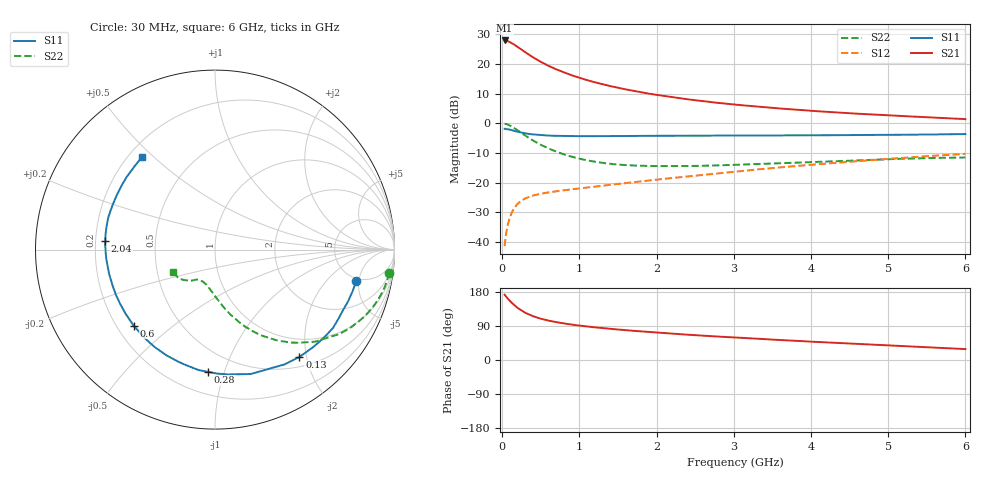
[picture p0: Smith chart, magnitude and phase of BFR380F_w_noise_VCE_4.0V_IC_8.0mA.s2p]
! Infineon Technologies  Discrete & RF Semiconductors
! BFR380F
! VCE =  4.0 V,  IC =  8.0 mA
! Common Emitter S-Parameters:  Nov 2015
# GHz  S  MA  R  50
!  f  S11  S21  S12  S22
! GHz  MAG  ANG  MAG  ANG  MAG  ANG  MAG  ANG
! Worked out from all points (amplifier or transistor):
!   206 points, 30 MHz to 6 GHz, reference 50 ohm
!   highest |S21| = 27.9 dB at 30 MHz (marker M1)
!   |S21| within 3 dB of that: start of sweep to 244.1 MHz
!   unconditionally stable (mu >= 1): 1.956 GHz to 5.037 GHz
!   at 200 MHz: K = 0.19, MSG = 26.4 dB, |S12| = -27.1 dB
!   at 1.56 GHz: K = 0.93, MSG = 15.9 dB, |S12| = -20.3 dB
!   at 6 GHz: K = 0.97, MSG = 5.9 dB, |S12| = -10.3 dB
!   lowest NFmin = 0.82 dB at 450 MHz
!   S11 on the Smith chart (normalised r, x): 30 MHz: 4.55, -4.60; 130 MHz: 0.66, -1.87; 280 MHz: 0.35, -0.88; 600 MHz: 0.27, -0.37; 2.04 GHz: 0.24, +0.04; 6 GHz: 0.25, +0.46
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0.03  0.8061 -12.7  24.74 172.2  0.0085 83.7  0.9803 -7.7
0.05  0.7957 -21.2  24.62 166.8  0.014 80.4  0.9678 -12.6
0.07  0.7883 -29.4  24.11 162.2  0.0192 76.5  0.9486 -17.4
0.1  0.7762 -41.1  23.15 155.7  0.0263 70.8  0.9109 -24.3
0.13  0.7606 -51.8  21.98 149.6  0.0327 66.0  0.8671 -30.5
0.15  0.7479 -58.8  21.25 145.7  0.0364 63.1  0.8362 -34.3
0.2  0.7213 -74.0  19.2 137.1  0.0441 56.9  0.7569 -42.7
0.28  0.6822 -93.3  16.26 126.9  0.0525 50.2  0.6424 -52.9
0.3  0.6774 -97.8  15.6 124.4  0.0543 48.9  0.6164 -55.4
0.34  0.662 -105.1  14.39 120.7  0.0571 46.8  0.5704 -59.2
0.4  0.6479 -114.8  12.83 115.5  0.0606 44.5  0.5102 -64.4
0.5  0.6306 -127.4  10.78 108.9  0.065 42.2  0.432 -71.1
0.6  0.6205 -136.9  9.239 103.8  0.0684 41.4  0.3745 -76.4
0.8  0.6087 -150.5  7.145 96.3  0.0742 41.7  0.2978 -84.6
1.04  0.6045 -161.3  5.6 89.8  0.0809 43.7  0.2459 -92.2
1.46  0.6069 -173.7  4.053 81.1  0.0936 48.0  0.2033 -103.0
2.02  0.6138 175.6  2.974 72.1  0.1129 52.8  0.1898 -112.8
2.04  0.6139 175.3  2.948 71.9  0.1137 53.0  0.1897 -113.0
3.1  0.6207 161.6  2.01 58.5  0.1568 58.3  0.2011 -123.2
4.1  0.6263 150.1  1.586 47.5  0.2045 59.3  0.2234 -129.0
5.1  0.638 139.4  1.337 37.7  0.256 58.1  0.2502 -138.9
6  0.6565 128.5  1.172 28.8  0.3047 54.8  0.2649 -151.9
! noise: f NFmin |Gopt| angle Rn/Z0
0.45  0.82  0.13  62  0.11
0.9  0.83  0.2  115  0.09
1.8  1.14  0.34  160  0.08
1.9  1.23  0.35  162  0.07
2.4  1.38  0.38  177  0.08
3.5  2.04  0.48  -161  0.11
